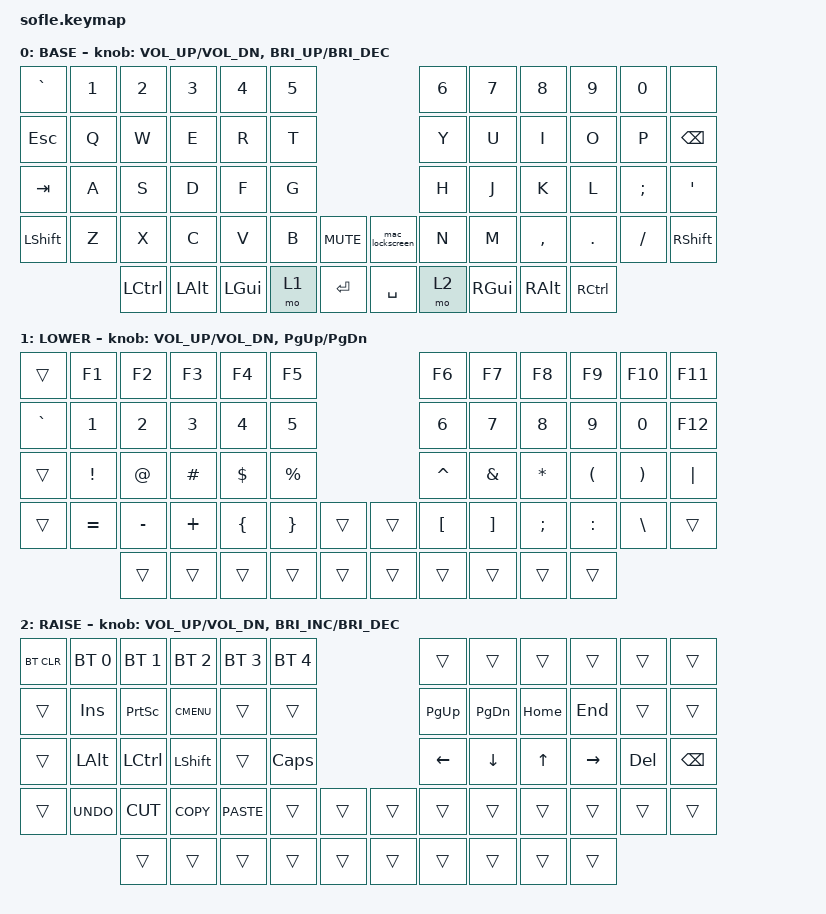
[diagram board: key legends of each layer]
/*
 * Copyright (c) 2020 The ZMK Contributors
 *
 * SPDX-License-Identifier: MIT
 */

#include <behaviors.dtsi>
#include <dt-bindings/zmk/bt.h>
#include <dt-bindings/zmk/keys.h>

#define BASE 0
#define LOWER 1
#define RAISE 2
#define ADJUST 3

/ {
    // Activate ADJUST layer by pressing raise and lower

    conditional_layers { compatible = "zmk,conditional-layers"; };

    macros {
        mac_lockscreen: mac_lockscreen {
            compatible = "zmk,behavior-macro";
            #binding-cells = <0>;
            bindings = <&sk LEFT_GUI &sk LEFT_CONTROL &kp Q>;
            label = "MAC_LOCKSCREEN";
        };
    };

    keymap {
        compatible = "zmk,keymap";

        default_layer {
            display-name = "BASE";

            // ------------------------------------------------------------------------------------------------------------
            // |   `   |  1  |  2  |  3   |  4   |  5   |                   |  6   |  7    |  8    |  9   |   0   |       |
            // |  ESC  |  Q  |  W  |  E   |  R   |  T   |                   |  Y   |  U    |  I    |  O   |   P   | BKSPC |
            // |  TAB  |  A  |  S  |  D   |  F   |  G   |                   |  H   |  J    |  K    |  L   |   ;   |   '   |
            // | SHIFT |  Z  |  X  |  C   |  V   |  B   |  MUTE  |  |       |  N   |  M    |  ,    |  .   |   /   | SHIFT |
            //               | GUI | ALT  | CTRL | LOWER|  ENTER |  | SPACE | RAISE| CTRL  | ALT   | GUI  |

            bindings = <
&kp GRAVE  &kp N1  &kp N2            &kp N3    &kp N4        &kp N5                                 &kp N6  &kp N7         &kp N8     &kp N9             &kp N0    &none
&kp ESC    &kp Q   &kp W             &kp E     &kp R         &kp T                                  &kp Y   &kp U          &kp I      &kp O              &kp P     &kp BSPC
&kp TAB    &kp A   &kp S             &kp D     &kp F         &kp G                                  &kp H   &kp J          &kp K      &kp L              &kp SEMI  &kp SQT
&kp LSHFT  &kp Z   &kp X             &kp C     &kp V         &kp B   &kp C_MUTE    &mac_lockscreen  &kp N   &kp M          &kp COMMA  &kp DOT            &kp FSLH  &kp RSHFT
                   &kp LEFT_CONTROL  &kp LALT  &kp LEFT_GUI  &mo 1   &kp RET       &kp SPACE        &mo 2   &kp RIGHT_GUI  &kp RALT   &kp RIGHT_CONTROL
            >;

            sensor-bindings =
                <&inc_dec_kp C_VOL_UP C_VOL_DN>,
                <&inc_dec_kp C_BRI_UP C_BRI_DEC>;
        };

        lower_layer {
            display-name = "LOWER";

            // TODO: Some binds are waiting for shifted keycode support.
            // ------------------------------------------------------------------------------------------------------------
            // |       |  F1 |  F2 |  F3  |  F4  |  F5  |                   |  F6  |  F7   |  F8   |  F9  |  F10  |  F11  |
            // |   `   |  1  |  2  |  3   |  4   |  5   |                   |  6   |  7    |  8    |  9   |   0   |  F12  |
            // |       |  !  |  @  |  #   |  $   |  %   |                   |  ^   |  &    |  *    |  (   |   )   |   |   |
            // |       |  =  |  -  |  +   |  {   |  }   |        |  |       |  [   |  ]    |  ;    |  :   |   \   |       |
            //               |     |      |      |      |        |  |       |      |       |       |      |

            bindings = <
&trans     &kp F1     &kp F2     &kp F3    &kp F4    &kp F5                       &kp F6     &kp F7    &kp F8     &kp F9     &kp F10   &kp F11
&kp GRAVE  &kp N1     &kp N2     &kp N3    &kp N4    &kp N5                       &kp N6     &kp N7    &kp N8     &kp N9     &kp N0    &kp F12
&trans     &kp EXCL   &kp AT     &kp HASH  &kp DLLR  &kp PRCNT                    &kp CARET  &kp AMPS  &kp ASTRK  &kp LPAR   &kp RPAR  &kp PIPE
&trans     &kp EQUAL  &kp MINUS  &kp PLUS  &kp LBRC  &kp RBRC   &trans    &trans  &kp LBKT   &kp RBKT  &kp SEMI   &kp COLON  &kp BSLH  &trans
                      &trans     &trans    &trans    &trans     &trans    &trans  &trans     &trans    &trans     &trans
            >;

            sensor-bindings = <&inc_dec_kp C_VOL_UP C_VOL_DN &inc_dec_kp PG_UP PG_DN>;
        };

        raise_layer {
            display-name = "RAISE";

            // ------------------------------------------------------------------------------------------------------------
            // | BTCLR | BT1  | BT2  |  BT3  |  BT4  |  BT5 |                |      |      |       |      |       |       |
            // |       | INS  | PSCR | GUI   |       |      |                | PGUP |      |   ^   |      |       |       |
            // |       | ALT  | CTRL | SHIFT |       | CAPS |                | PGDN |   <- |   v   |  ->  |  DEL  | BKSPC |
            // |       | UNDO | CUT  | COPY  | PASTE |      |      |  |      |      |      |       |      |       |       |
            //                |      |       |       |      |      |  |      |      |      |       |      |

            bindings = <
&bt BT_CLR  &bt BT_SEL 0  &bt BT_SEL 1  &bt BT_SEL 2  &bt BT_SEL 3  &bt BT_SEL 4                    &trans       &trans         &trans        &trans     &trans   &trans
&trans      &kp INS       &kp PSCRN     &kp K_CMENU   &trans        &trans                          &kp PAGE_UP  &kp PAGE_DOWN  &kp HOME      &kp END    &trans   &trans
&trans      &kp LALT      &kp LCTRL     &kp LSHFT     &trans        &kp CLCK                        &kp LEFT     &kp DOWN       &kp UP_ARROW  &kp RIGHT  &kp DEL  &kp BSPC
&trans      &kp K_UNDO    &kp K_CUT     &kp K_COPY    &kp K_PASTE   &trans        &trans    &trans  &trans       &trans         &trans        &trans     &trans   &trans
                          &trans        &trans        &trans        &trans        &trans    &trans  &trans       &trans         &trans        &trans
            >;

            sensor-bindings =
                <&inc_dec_kp C_VOL_UP C_VOL_DN>,
                <&inc_dec_kp C_BRI_INC C_BRI_DEC>;
        };
    };
};
